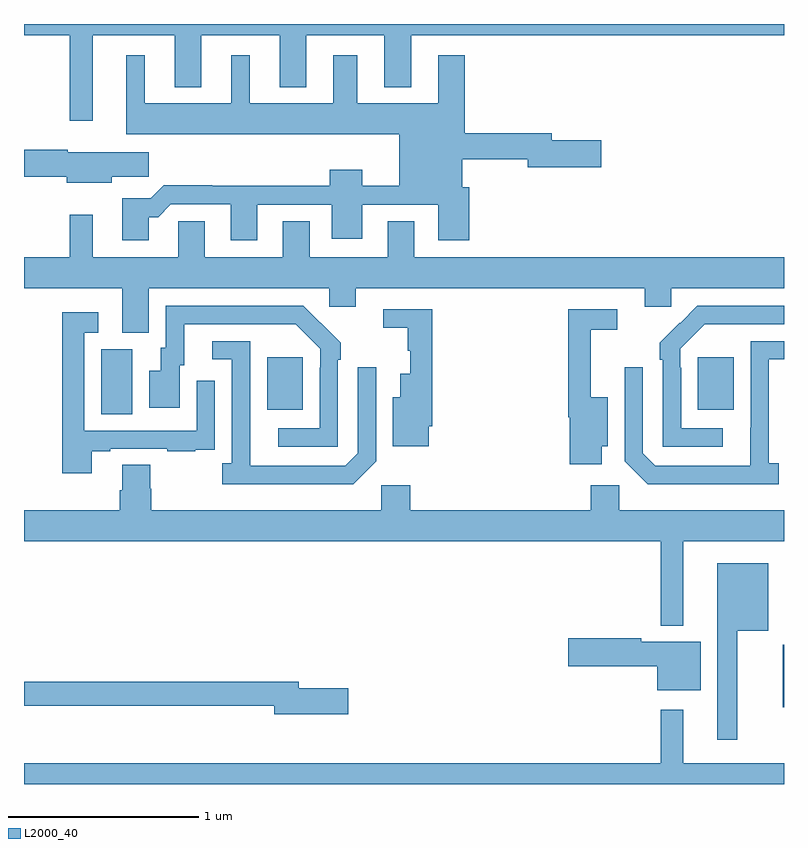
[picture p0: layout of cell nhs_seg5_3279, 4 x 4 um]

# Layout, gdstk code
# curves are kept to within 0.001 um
import gdstk
lib = gdstk.Library(unit=1e-6, precision=1e-09)
def R(c, l, rs):  # rectangles x0, y0, x1, y1
    for r in rs: c.add(gdstk.rectangle(r[:2], r[2:], *l))
def P(c, l, *ps):  # polygons
    for p in ps: c.add(gdstk.Polygon(p, *l))
L2000_40 = (2000, 40)

nhs_seg5_3279 = lib.new_cell('nhs_seg5_3279')
R(nhs_seg5_3279, L2000_40, [(304.994,873.203,305,873.532), (301.406,874.744,301.57,875.088), (302.279,874.769,302.467,875.044), (304.547,874.769,304.735,875.044)])
P(nhs_seg5_3279, L2000_40, [(301.363,876.74),(301.793,876.74),(301.793,876.467),(301.933,876.467),(301.933,876.74),(302.345,876.74),(302.345,876.467),(302.485,876.467),(302.485,876.74),(302.897,876.74),(302.897,876.467),(303.037,876.467),(303.037,876.74),(305,876.74),(305,876.799),(301,876.799),(301,876.74),(301.242,876.74),(301.242,876.291),(301.363,876.291)],
  [(301.657,875.783),(301.706,875.783),(301.773,875.85),(302.087,875.85),(302.087,875.661),(302.227,875.661),(302.227,875.847),(302.621,875.847),(302.621,875.669),(302.779,875.669),(302.779,875.847),(303.179,875.847),(303.179,875.661),(303.344,875.661),(303.344,875.94),(303.307,875.94),(303.307,876.088),(303.65,876.088),(303.65,876.046),(304.039,876.046),(304.039,876.188),(303.778,876.188),(303.778,876.224),(303.32,876.224),(303.32,876.634),(303.179,876.634),(303.179,876.382),(302.755,876.382),(302.755,876.634),(302.627,876.634),(302.627,876.382),(302.188,876.382),(302.188,876.634),(302.09,876.634),(302.09,876.382),(301.636,876.382),(301.636,876.634),(301.538,876.634),(301.538,876.218),(302.975,876.218),(302.975,875.948),(302.779,875.948),(302.779,876.031),(302.609,876.031),(302.609,875.948),(301.991,875.948),(301.991,875.951),(301.736,875.951),(301.666,875.881),(301.517,875.881),(301.517,875.661),(301.657,875.661)],
  [(301.462,875.995),(301.657,875.995),(301.657,876.124),(301.23,876.124),(301.23,876.137),(301,876.137),(301,875.995),(301.226,875.995),(301.226,875.963),(301.462,875.963)],
  [(301.657,875.408),(302.607,875.408),(302.607,875.31),(302.746,875.31),(302.746,875.408),(304.268,875.408),(304.268,875.31),(304.407,875.31),(304.407,875.408),(305,875.408),(305,875.572),(303.055,875.572),(303.055,875.762),(302.915,875.762),(302.915,875.572),(302.503,875.572),(302.503,875.762),(302.363,875.762),(302.363,875.572),(301.951,875.572),(301.951,875.762),(301.812,875.762),(301.812,875.572),(301.363,875.572),(301.363,875.794),(301.242,875.794),(301.242,875.572),(301,875.572),(301,875.408),(301.517,875.408),(301.517,875.173),(301.657,875.173)],
  [(304.678,874.671),(304.458,874.671),(304.458,874.991),(304.455,874.991),(304.455,875.091),(304.584,875.22),(305,875.22),(305,875.316),(304.544,875.316),(304.347,875.121),(304.347,875.033),(304.362,875.033),(304.362,874.575),(304.678,874.575)],
  [(302.652,875.033),(302.667,875.033),(302.667,875.121),(302.47,875.316),(301.746,875.316),(301.746,875.094),(301.721,875.094),(301.721,874.975),(301.658,874.975),(301.658,874.779),(301.819,874.779),(301.819,875.004),(301.843,875.004),(301.843,875.22),(302.431,875.22),(302.559,875.091),(302.559,874.991),(302.556,874.991),(302.556,874.671),(302.337,874.671),(302.337,874.575),(302.652,874.575)],
  [(303.13,874.681),(303.149,874.681),(303.149,875.298),(302.892,875.298),(302.892,875.2),(303.021,875.2),(303.021,875.079),(303.032,875.079),(303.032,874.957),(302.981,874.957),(302.981,874.834),(302.942,874.834),(302.942,874.577),(303.13,874.577)],
  [(304.042,874.577),(304.072,874.577),(304.072,874.834),(303.983,874.834),(303.983,875.19),(304.123,875.19),(304.123,875.298),(303.865,875.298),(303.865,874.73),(303.872,874.73),(303.872,874.482),(304.042,874.482)],
  [(301.357,874.551),(301.453,874.551),(301.453,874.563),(301.753,874.563),(301.753,874.551),(301.901,874.551),(301.901,874.557),(302.003,874.557),(302.003,874.666),(302.004,874.666),(302.004,874.921),(301.908,874.921),(301.908,874.659),(301.317,874.659),(301.317,875.175),(301.39,875.175),(301.39,875.281),(301.201,875.281),(301.201,874.434),(301.357,874.434)],
  [(302.853,874.497),(302.853,874.993),(302.757,874.993),(302.757,874.539),(302.691,874.473),(302.191,874.473),(302.19,875.13),(301.992,875.13),(301.992,875.034),(302.094,875.034),(302.094,874.486),(302.043,874.486),(302.043,874.376),(302.732,874.376)],
  [(304.972,874.486),(304.92,874.486),(304.92,875.034),(305,875.034),(305,875.13),(304.824,875.13),(304.823,874.473),(304.323,874.473),(304.257,874.539),(304.257,874.993),(304.161,874.993),(304.161,874.497),(304.282,874.376),(304.972,874.376)],
  [(304.471,874.076),(305,874.076),(305,874.24),(304.134,874.24),(304.134,874.372),(303.983,874.372),(303.983,874.24),(303.032,874.24),(303.032,874.372),(302.88,874.372),(302.88,874.24),(301.67,874.24),(301.67,874.353),(301.665,874.353),(301.665,874.478),(301.517,874.478),(301.517,874.346),(301.505,874.346),(301.505,874.24),(301,874.24),(301,874.076),(304.35,874.076),(304.35,873.632),(304.471,873.632)],
  [(304.753,873.605),(304.918,873.605),(304.918,873.961),(304.649,873.961),(304.649,873.033),(304.753,873.033)],
  [(304.561,873.547),(304.248,873.547),(304.248,873.566),(303.864,873.566),(303.864,873.419),(304.334,873.419),(304.334,873.293),(304.561,873.293)],
  [(302.707,873.302),(302.446,873.302),(302.446,873.338),(301,873.338),(301,873.21),(302.318,873.21),(302.318,873.167),(302.707,873.167)],
  [(305,872.908),(304.471,872.908),(304.471,873.19),(304.35,873.19),(304.35,872.908),(301,872.908),(301,872.799),(305,872.799)])

lib.write_gds('nhs_seg5_3279.gds')
